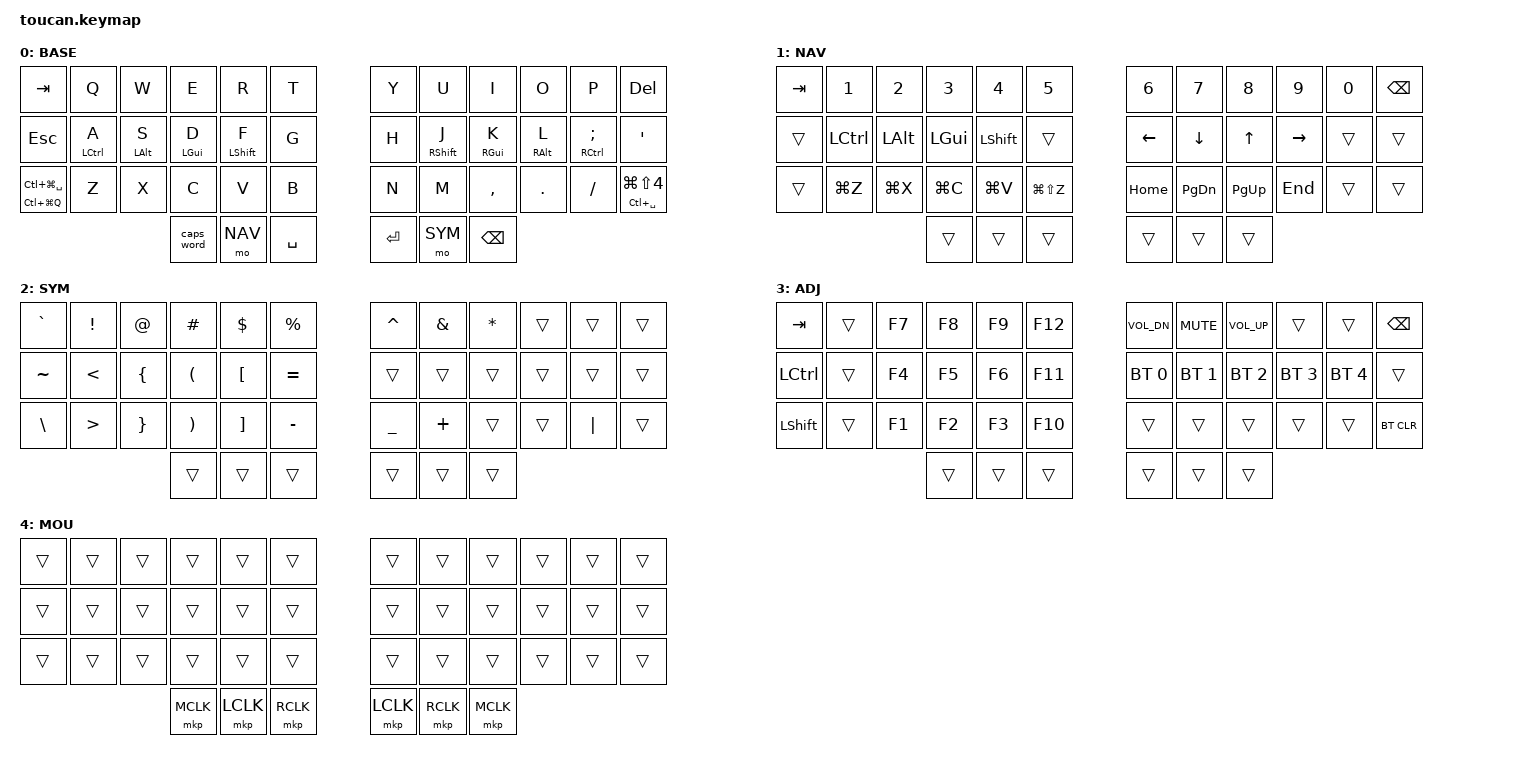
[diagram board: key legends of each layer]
#include <behaviors.dtsi>
#include <dt-bindings/zmk/keys.h>
#include <dt-bindings/zmk/bt.h>
#include <dt-bindings/zmk/outputs.h>
#include <dt-bindings/zmk/pointing.h>

#define BASE 0
#define NAV  1
#define SYM  2
#define ADJ  3

// Tastenpositionen (0-basiert, Zeile für Zeile, links nach rechts)
// Zeile 0:  0- 5 links,  6-11 rechts
// Zeile 1: 12-17 links, 18-23 rechts
// Zeile 2: 24-29 links, 30-35 rechts
// Daumen:  36-38 links, 39-41 rechts
#define KEYS_L 0 1 2 3 4 5 12 13 14 15 16 17 24 25 26 27 28 29
#define KEYS_R 6 7 8 9 10 11 18 19 20 21 22 23 30 31 32 33 34 35
#define THUMBS 36 37 38 39 40 41

/ {
    behaviors {
        // Home-Row-Mod linke Hand: Modifier greift nur, wenn danach
        // eine Taste der rechten Hand oder ein Daumen gedrückt wird
        hml: home_row_mod_left {
            compatible = "zmk,behavior-hold-tap";
            #binding-cells = <2>;
            flavor = "balanced";
            tapping-term-ms = <280>;
            quick-tap-ms = <175>;
            require-prior-idle-ms = <150>;
            bindings = <&kp>, <&kp>;
            hold-trigger-key-positions = <KEYS_R THUMBS>;
            hold-trigger-on-release;
        };

        // Home-Row-Mod rechte Hand: spiegelbildlich
        hmr: home_row_mod_right {
            compatible = "zmk,behavior-hold-tap";
            #binding-cells = <2>;
            flavor = "balanced";
            tapping-term-ms = <280>;
            quick-tap-ms = <175>;
            require-prior-idle-ms = <150>;
            bindings = <&kp>, <&kp>;
            hold-trigger-key-positions = <KEYS_L THUMBS>;
            hold-trigger-on-release;
        };

        // Shift linke Hand (F): wie hml, aber ohne require-prior-idle-ms,
        // damit Shift auch beim schnellen Tippen greift
        hsl: home_row_shift_left {
            compatible = "zmk,behavior-hold-tap";
            #binding-cells = <2>;
            flavor = "balanced";
            tapping-term-ms = <280>;
            quick-tap-ms = <175>;
            bindings = <&kp>, <&kp>;
            hold-trigger-key-positions = <KEYS_R THUMBS>;
            hold-trigger-on-release;
        };

        // Utility-Taste: Tippen = Aktion 2, Halten (400 ms) = Aktion 1
        htu: hold_tap_utility {
            compatible = "zmk,behavior-hold-tap";
            #binding-cells = <2>;
            flavor = "tap-preferred";
            tapping-term-ms = <400>;
            bindings = <&kp>, <&kp>;
        };

        // Shift rechte Hand (J): spiegelbildlich
        hsr: home_row_shift_right {
            compatible = "zmk,behavior-hold-tap";
            #binding-cells = <2>;
            flavor = "balanced";
            tapping-term-ms = <280>;
            quick-tap-ms = <175>;
            bindings = <&kp>, <&kp>;
            hold-trigger-key-positions = <KEYS_L THUMBS>;
            hold-trigger-on-release;
        };
    };

    conditional_layers {
        compatible = "zmk,conditional-layers";
        tri_layer {
            if-layers = <1 2>;
            then-layer = <3>;
        };
    };

    keymap {
        compatible = "zmk,keymap";

        base {
            display-name = "BASE";
            bindings = <
                &kp TAB   &kp Q            &kp W           &kp E           &kp R            &kp T   &kp Y &kp U            &kp I           &kp O           &kp P             &kp DEL
                &kp ESC   &hml LCTRL A     &hml LALT S     &hml LGUI D     &hsl LSHFT F     &kp G   &kp H &hsr RSHFT J     &hmr RGUI K     &hmr RALT L     &hmr RCTRL SEMI   &kp SQT
                &htu LC(LG(Q)) LC(LG(SPACE))   &kp Z   &kp X   &kp C   &kp V   &kp B   &kp N   &kp M   &kp COMMA   &kp DOT   &kp FSLH   &htu LC(SPACE) LG(LS(N4))
                                           &caps_word      &mo NAV         &kp SPACE                &kp RET               &mo SYM         &kp BSPC
            >;
        };

        // NAV: links Modifier und Bearbeiten, rechts Navigation
        nav {
            display-name = "NAV";
            bindings = <
                &kp TAB  &kp N1      &kp N2      &kp N3      &kp N4         &kp N5             &kp N6    &kp N7    &kp N8    &kp N9    &kp N0 &kp BSPC
                &trans   &kp LCTRL   &kp LALT    &kp LGUI    &kp LSHFT      &trans             &kp LEFT  &kp DOWN  &kp UP    &kp RIGHT &trans &trans
                &trans   &kp LG(Z)   &kp LG(X)   &kp LG(C)   &kp LG(V)      &kp LG(LS(Z))      &kp HOME  &kp PG_DN &kp PG_UP &kp END   &trans &trans
                                     &trans      &trans      &trans                            &trans    &trans    &trans
            >;
        };

        sym {
            display-name = "SYM";
            bindings = <
                &kp GRAVE &kp EXCL &kp AT   &kp HASH &kp DLLR &kp PRCNT   &kp CARET &kp AMPS  &kp ASTRK &trans &trans   &trans
                &kp TILDE &kp LT   &kp LBRC &kp LPAR &kp LBKT &kp EQUAL   &trans    &trans    &trans    &trans &trans   &trans
                &kp BSLH  &kp GT   &kp RBRC &kp RPAR &kp RBKT &kp MINUS   &kp UNDER &kp PLUS  &trans    &trans &kp PIPE &trans
                                   &trans   &trans   &trans               &trans    &trans    &trans
            >;
        };

        // ADJ (NAV + SYM gleichzeitig): F-Tasten, Lautstärke, Bluetooth
        adj {
            display-name = "ADJ";
            bindings = <
                &kp TAB   &trans &kp F7 &kp F8 &kp F9 &kp F12   &kp C_VOL_DN  &kp C_MUTE    &kp C_VOL_UP  &trans        &trans        &kp BSPC
                &kp LCTRL &trans &kp F4 &kp F5 &kp F6 &kp F11   &bt BT_SEL 0  &bt BT_SEL 1  &bt BT_SEL 2  &bt BT_SEL 3  &bt BT_SEL 4  &trans
                &kp LSHFT &trans &kp F1 &kp F2 &kp F3 &kp F10   &trans        &trans        &trans        &trans        &trans        &bt BT_CLR
                                   &trans &trans &trans         &trans &trans &trans
            >;
        };

        mouse {
            display-name = "MOU";
            bindings = <
                &trans &trans &trans &trans &trans &trans           &trans &trans &trans &trans &trans &trans
                &trans &trans &trans &trans &trans &trans           &trans &trans &trans &trans &trans &trans
                &trans &trans &trans &trans &trans &trans           &trans &trans &trans &trans &trans &trans
                            &mkp MCLK &mkp LCLK &mkp RCLK           &mkp LCLK &mkp RCLK &mkp MCLK
            >;
        };

        extra_2 {
                status = "reserved";
        };

        extra_3 {
                status = "reserved";
        };
    };
};
